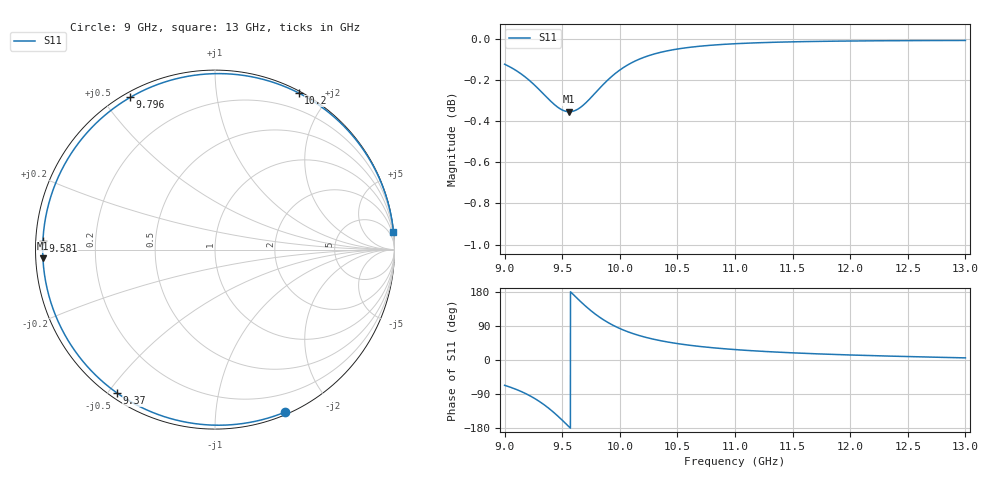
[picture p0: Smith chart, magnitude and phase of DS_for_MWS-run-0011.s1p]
! TOUCHSTONE file generated by CST DESIGN STUDIO
! Date and time: Tue Feb  4 13:37:54 2025
! Project name: C:\Work\MatlabApps\UnitCellOptimizationMatlab\CST\unitcell.cst
! Tree item: Tasks\Sweep1\SPara1\S-Parameters
! Header version: 2024
! Port assignment regex: !\s*Touchstone port\s*([0-9]+)\s*=\s*(CST MWS port|CST DES external port|CST DES block port)\s*(.+)\s* \(\"(.*)\"\)(\s*mode\s*([0-9]+))?.*
! Touchstone port assignment:
! Touchstone port 1 = CST DES external port 1 ("")
# GHz S MA R 50
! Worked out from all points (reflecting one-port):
!   4001 points, 9 GHz to 13 GHz, reference 50 ohm
!   lowest |S11| = -0.4 dB at 9.562 GHz (marker M1), VSWR 49.02, Z = 1.02 - j1.28 ohm
!   phase of S11 starts at -67 deg and turns -288 deg over the sweep
!   S11 on the Smith chart (normalised r, x): 9 GHz: 0.02, -1.52; 9.37 GHz: 0.02, -0.53; 9.581 GHz: 0.02, +0.02; 9.796 GHz: 0.02, +0.59; 10.2 GHz: 0.02, +1.67; 13 GHz: 0, +20
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9  0.9859 -66.8
9.042  0.9846 -71.0
9.109  0.982 -78.6
9.223  0.9766 -95.0
9.301  0.9719 -109.2
9.37  0.9676 -124.3
9.434  0.9638 -140.3
9.5  0.961 -158.7
9.562  0.96 -177.1
9.581  0.9601 177.2
9.636  0.9614 160.9
9.696  0.9643 144.0
9.746  0.9674 131.0
9.796  0.9708 119.1
9.84  0.9737 109.7
9.888  0.9768 100.6
9.94  0.9797 91.8
10  0.9827 83.1
10.095  0.9864 71.7
10.199  0.9894 61.9
10.337  0.9922 52.0
10.5  0.9943 43.3
10.721  0.996 34.9
11  0.9973 27.5
11.5  0.9983 18.9
12  0.9988 13.3
12.5  0.999 9.1
13  0.9991 5.6
